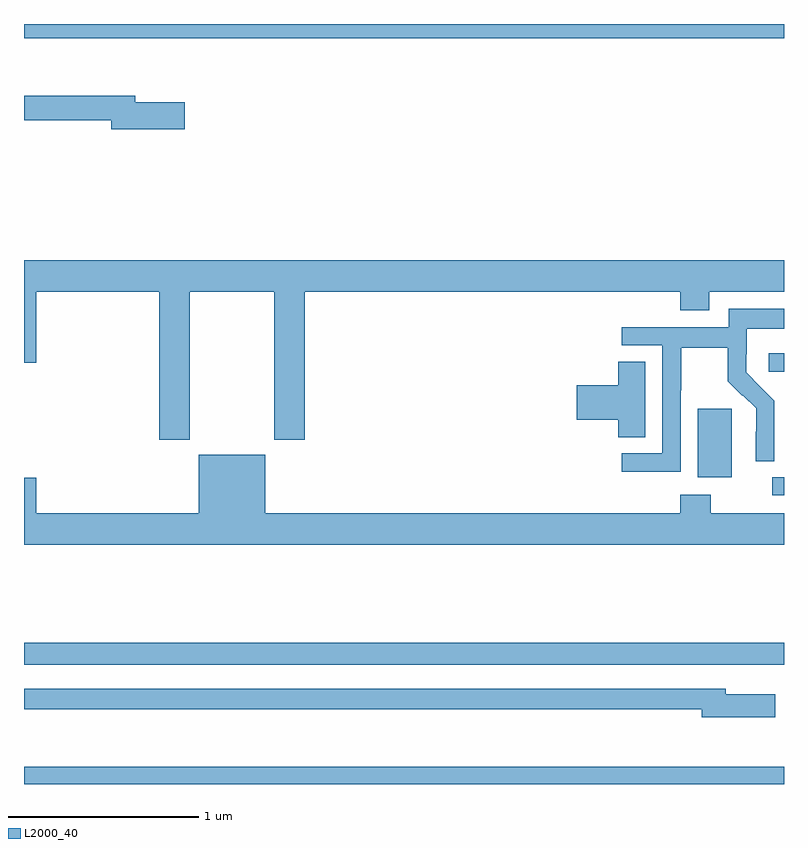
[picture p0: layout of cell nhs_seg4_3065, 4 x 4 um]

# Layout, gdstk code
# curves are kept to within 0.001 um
import gdstk
lib = gdstk.Library(unit=1e-6, precision=1e-09)
def R(c, l, rs):  # rectangles x0, y0, x1, y1
    for r in rs: c.add(gdstk.rectangle(r[:2], r[2:], *l))
def P(c, l, *ps):  # polygons
    for p in ps: c.add(gdstk.Polygon(p, *l))
L2000_40 = (2000, 40)

nhs_seg4_3065 = lib.new_cell('nhs_seg4_3065')
R(nhs_seg4_3065, L2000_40, [(273,788.9,277,788.992), (276.939,790.419,277,790.515), (276.545,790.514,276.724,790.875), (276.921,791.07,277,791.167), (273,792.824,277,792.9)])
P(nhs_seg4_3065, L2000_40, [(273.847,792.489),(273.586,792.489),(273.586,792.523),(273,792.523),(273,792.394),(273.458,792.394),(273.458,792.347),(273.847,792.347)],
  [(273.873,791.492),(274.318,791.492),(274.318,790.713),(274.478,790.713),(274.478,791.492),(276.455,791.492),(276.455,791.393),(276.607,791.393),(276.607,791.492),(277,791.492),(277,791.656),(273,791.656),(273,791.118),(273.064,791.118),(273.064,791.492),(273.713,791.492),(273.713,790.713),(273.873,790.713)],
  [(276.456,790.972),(276.459,790.972),(276.459,791.196),(276.703,791.196),(276.703,791.021),(276.78,790.944),(276.783,790.947),(276.854,790.877),(276.854,790.754),(276.852,790.754),(276.852,790.6),(276.948,790.6),(276.948,790.918),(276.802,791.066),(276.802,791.163),(276.804,791.163),(276.804,791.297),(277,791.297),(277,791.401),(276.708,791.401),(276.708,791.304),(276.147,791.304),(276.147,791.208),(276.36,791.208),(276.36,790.641),(276.147,790.641),(276.147,790.543),(276.456,790.543)],
  [(276.271,791.123),(276.128,791.123),(276.128,791),(275.91,791),(275.91,790.817),(276.128,790.817),(276.128,790.726),(276.271,790.726)],
  [(277,790.324),(276.615,790.324),(276.615,790.423),(276.455,790.423),(276.455,790.324),(274.27,790.324),(274.27,790.633),(273.92,790.633),(273.92,790.324),(273.064,790.324),(273.064,790.513),(273,790.513),(273,790.16),(277,790.16)],
  [(277,789.644),(273,789.644),(273,789.528),(276.79,789.528),(276.79,789.527),(277,789.527)],
  [(276.955,789.373),(276.694,789.373),(276.694,789.402),(273,789.402),(273,789.294),(276.566,789.294),(276.566,789.251),(276.955,789.251)])

lib.write_gds('nhs_seg4_3065.gds')
